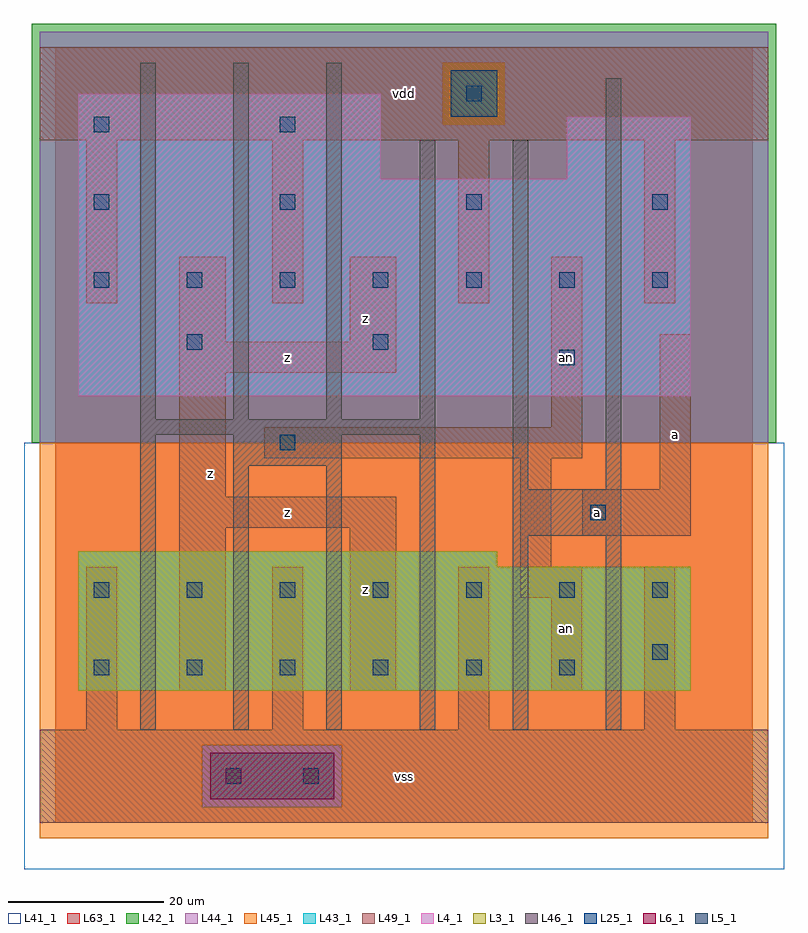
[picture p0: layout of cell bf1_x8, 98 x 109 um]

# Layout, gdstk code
import gdstk
lib = gdstk.Library(unit=1e-6, precision=1e-09)
def R(c, l, rs):  # rectangles x0, y0, x1, y1
    for r in rs: c.add(gdstk.rectangle(r[:2], r[2:], *l))
def A(c, l, x, y, w, h, nx, ny, dx, dy):  # array of equal rectangles
    R(c, l, [(x+i*dx, y+j*dy, x+i*dx+w, y+j*dy+h) for i in range(nx) for j in range(ny)])
L3_1 = (3, 1)
L4_1 = (4, 1)
L5_1 = (5, 1)
L6_1 = (6, 1)
L25_1 = (25, 1)
L41_1 = (41, 1)
L42_1 = (42, 1)
L43_1 = (43, 1)
L44_1 = (44, 1)
L45_1 = (45, 1)
L46_1 = (46, 1)
L49_1 = (49, 1)
L63_1 = (63, 1)

bf1_x8 = lib.new_cell('bf1_x8')
R(bf1_x8, L3_1, [(3,17,82,33), (3,33,57,35)])
R(bf1_x8, L4_1, [(3,55,82,83), (3,83,42,94), (66,83,82,91)])
R(bf1_x8, L5_1, [(51,91,57,97)])
R(bf1_x8, L6_1, [(20,3,36,9)])
A(bf1_x8, L25_1, 5, 19, 2, 2, 6, 1, 12, 0)
A(bf1_x8, L25_1, 5, 29, 2, 2, 7, 2, 12, 40)
A(bf1_x8, L25_1, 5, 79, 2, 2, 4, 1, 24, 0)
R(bf1_x8, L25_1, [(22,5,24,7), (32,5,34,7), (77,21,79,23), (69,39,71,41), (29,48,31,50), (65,59,67,61), (17,61,19,63), (41,61,43,63), (5,89,7,91), (29,89,31,91), (53,93,55,95)])
R(bf1_x8, L41_1, [(-4,-6,94,49), (-3,-3,93,49)])
R(bf1_x8, L42_1, [(-3,49,93,103)])
R(bf1_x8, L43_1, [(20,3,36,9), (3,17,82,33), (3,33,57,35), (3,55,82,83), (3,83,42,94), (66,83,82,91), (51,91,57,97)])
R(bf1_x8, L44_1, [(19,2,37,10), (-2,49,92,90), (-2,90,50,98), (58,90,92,98), (-2,98,92,102)])
R(bf1_x8, L45_1, [(-2,-2,92,2), (-2,2,19,10), (37,2,92,10), (-2,10,92,49), (50,90,58,98)])
A(bf1_x8, L46_1, 11, 52, 2, 46, 3, 1, 12, 0)
R(bf1_x8, L46_1, [(11,12,13,50), (23,12,25,46), (35,12,37,46), (47,12,49,50), (59,12,61,37), (71,12,73,37), (59,37,73,43), (59,43,61,88), (71,43,73,96), (23,46,37,50), (11,50,49,52), (47,52,49,88)])
A(bf1_x8, L49_1, 4, 12, 4, 21, 4, 2, 24, 55)
R(bf1_x8, L49_1, [(-2,0,92,12), (16,17,22,38), (38,17,44,38), (64,17,68,29), (60,29,68,33), (60,33,64,47), (68,37,82,43), (16,38,44,42), (16,42,22,58), (78,43,82,63), (27,47,68,51), (64,51,68,73), (16,58,44,62), (16,62,22,73), (38,62,44,73), (-2,88,92,100)])
R(bf1_x8, L63_1, [(0,0,90,100)])
bf1_x8.add(gdstk.Label('z', (20,45), layer=49, texttype=1))
bf1_x8.add(gdstk.Label('z', (20,45), layer=49, texttype=1))
bf1_x8.add(gdstk.Label('z', (30,40), layer=49, texttype=1))
bf1_x8.add(gdstk.Label('z', (40,30), layer=49, texttype=1))
bf1_x8.add(gdstk.Label('z', (40,30), layer=49, texttype=1))
bf1_x8.add(gdstk.Label('z', (30,40), layer=49, texttype=1))
bf1_x8.add(gdstk.Label('z', (40,65), layer=49, texttype=1))
bf1_x8.add(gdstk.Label('z', (30,60), layer=49, texttype=1))
bf1_x8.add(gdstk.Label('z', (40,65), layer=49, texttype=1))
bf1_x8.add(gdstk.Label('z', (30,60), layer=49, texttype=1))
bf1_x8.add(gdstk.Label('vss', (45,6), layer=49, texttype=1))
bf1_x8.add(gdstk.Label('vss', (45,6), layer=49, texttype=1))
bf1_x8.add(gdstk.Label('an', (66,25), layer=49, texttype=1))
bf1_x8.add(gdstk.Label('an', (66,60), layer=49, texttype=1))
bf1_x8.add(gdstk.Label('vdd', (45,94), layer=49, texttype=1))
bf1_x8.add(gdstk.Label('vdd', (45,94), layer=49, texttype=1))
bf1_x8.add(gdstk.Label('a', (70,40), layer=49, texttype=1))
bf1_x8.add(gdstk.Label('a', (70,40), layer=49, texttype=1))
bf1_x8.add(gdstk.Label('a', (80,50), layer=49, texttype=1))
bf1_x8.add(gdstk.Label('a', (80,50), layer=49, texttype=1))

lib.write_gds('bf1_x8.gds')
